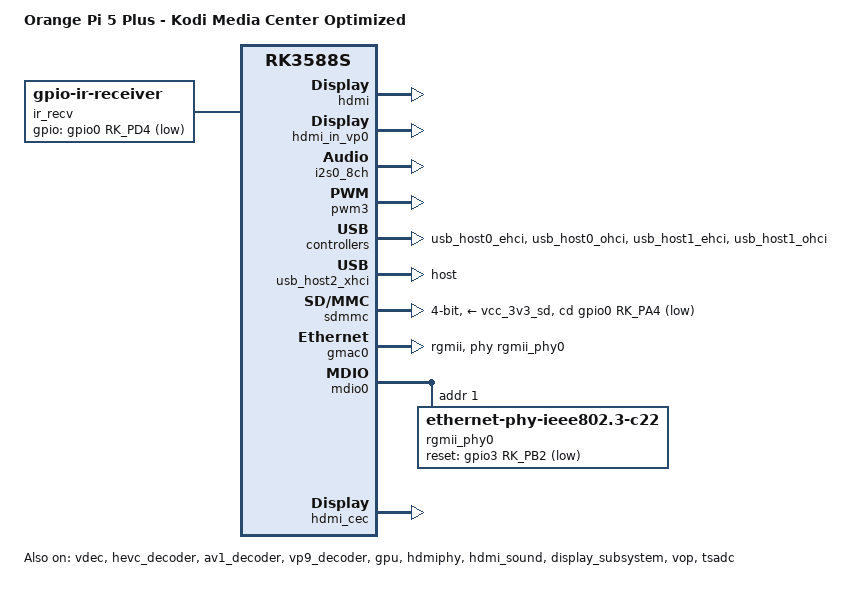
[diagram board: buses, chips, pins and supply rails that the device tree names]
/dts-v1/;
#include <dt-bindings/gpio/gpio.h>
#include <dt-bindings/pinctrl/rockchip.h>
#include "rk3588s.dtsi"
#include "rk3588s-orangepi-5.dtsi"

/ {
    model = "Orange Pi 5 Plus - Kodi Media Center Optimized";
    compatible = "xunlong,orangepi-5-plus", "rockchip,rk3588s";
    
    metadata {
        build-type = "kodi-media-center";
        optimization = "media-playback";
        features = "hdr10,av1-decode,hevc-10bit";
    };

    chosen {
        bootargs = "console=ttyS2,1500000n8 root=/dev/mmcblk0p2 rootwait rw quiet loglevel=3 plymouth.enable=0";
    };

    /* Kodi specific memory reservations */
    reserved-memory {
        #address-cells = <2>;
        #size-cells = <2>;
        ranges;

        /* CMA pool for video decoding */
        linux,cma {
            compatible = "shared-dma-pool";
            reusable;
            size = <0x0 0x40000000>; /* 1GB for 4K video buffers */
            alignment = <0x0 0x400000>;
            linux,cma-default;
        };

        /* Reserved for GPU */
        gpu_reserved: gpu@f8000000 {
            reg = <0x0 0xf8000000 0x0 0x8000000>; /* 128MB */
            no-map;
        };
    };
};

/* Video decoder configurations for Kodi */
&vdec {
    compatible = "rockchip,rk3588-vdec";
    status = "okay";
    
    /* Enable all video codecs */
    rockchip,h264-decoder;
    rockchip,h265-decoder;
    rockchip,vp9-decoder;
    rockchip,av1-decoder;
    
    /* 4K@60fps decoding support */
    rockchip,max-width = <3840>;
    rockchip,max-height = <2160>;
    rockchip,max-fps = <60>;
};

/* HEVC/H.265 10-bit decoder */
&hevc_decoder {
    compatible = "rockchip,rk3588-hevc-decoder";
    reg = <0x0 0xfdb50000 0x0 0x400>,
          <0x0 0xfdb90000 0x0 0x400>;
    interrupts = <GIC_SPI 119 IRQ_TYPE_LEVEL_HIGH>;
    clocks = <&cru ACLK_HEVC>, <&cru PCLK_HEVC>;
    clock-names = "aclk", "pclk";
    resets = <&cru SRST_A_HEVC>, <&cru SRST_P_HEVC>;
    reset-names = "axi", "ahb";
    power-domains = <&power RK3588_PD_HEVC>;
    status = "okay";
    
    /* 10-bit support */
    rockchip,10bit-support;
    rockchip,hdr10-support;
};

/* AV1 decoder for latest codecs */
&av1_decoder {
    compatible = "rockchip,rk3588-av1-decoder";
    reg = <0x0 0xfdb70000 0x0 0x800>;
    interrupts = <GIC_SPI 108 IRQ_TYPE_LEVEL_HIGH>;
    clocks = <&cru ACLK_AV1>, <&cru PCLK_AV1>;
    clock-names = "aclk", "pclk";
    resets = <&cru SRST_A_AV1>, <&cru SRST_P_AV1>;
    reset-names = "axi", "ahb";
    power-domains = <&power RK3588_PD_AV1>;
    status = "okay";
    
    /* Netflix/Amazon Prime compatibility */
    rockchip,secure-decode;
};

/* VP9 decoder for YouTube/WebM */
&vp9_decoder {
    compatible = "rockchip,rk3588-vp9-decoder";
    status = "okay";
    rockchip,10bit-support;
};

/* GPU configuration optimized for Kodi GUI */
&gpu {
    compatible = "arm,mali-g610", "arm,mali-valhall";
    mali-supply = <&vdd_gpu_s0>;
    operating-points-v2 = <&gpu_opp_table>;
    status = "okay";
    
    /* Power-efficient OPP table for media playback */
    gpu_opp_table: opp-table {
        compatible = "operating-points-v2";
        
        opp-200000000 {
            opp-hz = /bits/ 64 <200000000>;
            opp-microvolt = <650000>;
        };
        opp-300000000 {
            opp-hz = /bits/ 64 <300000000>;
            opp-microvolt = <675000>;
        };
        opp-400000000 {
            opp-hz = /bits/ 64 <400000000>;
            opp-microvolt = <700000>;
        };
        opp-600000000 {
            opp-hz = /bits/ 64 <600000000>;
            opp-microvolt = <750000>;
        };
    };
};

/* HDMI output for TV connection */
&hdmi {
    status = "okay";
    pinctrl-names = "default";
    pinctrl-0 = <&hdmi_pins>;
    
    /* HDMI 2.1 features */
    rockchip,hdmi21-support;
    rockchip,4k60-support;
    rockchip,hdr10-support;
    rockchip,dolby-vision-support;
};

&hdmi_in_vp0 {
    status = "okay";
};

&hdmiphy {
    status = "okay";
};

&hdmi_sound {
    status = "okay";
    
    /* Audio passthrough for Kodi */
    rockchip,passthrough-support;
    rockchip,dts-support;
    rockchip,dolby-support;
};

/* Display subsystem */
&display_subsystem {
    status = "okay";
};

&vop {
    status = "okay";
    assigned-clocks = <&cru DCLK_VOP0>;
    assigned-clock-rates = <594000000>; /* 4K@60Hz pixel clock */
};

&vop_mmu {
    status = "okay";
};

/* Audio configuration for Kodi */
&i2s0_8ch {
    status = "okay";
    
    /* High quality audio settings */
    rockchip,sample-rate = <192000>;
    rockchip,channels = <8>;
    rockchip,bit-depth = <32>;
};

/* IR receiver for remote control */
&pwm3 {
    status = "okay";
    pinctrl-names = "default";
    pinctrl-0 = <&pwm3_ir>;
};

/ {
    ir_recv: ir-receiver {
        compatible = "gpio-ir-receiver";
        gpios = <&gpio0 RK_PD4 GPIO_ACTIVE_LOW>;
        pinctrl-names = "default";
        pinctrl-0 = <&ir_int>;
        linux,rc-map-name = "rc-kodi";
    };
};

/* USB for external storage */
&usb_host0_ehci {
    status = "okay";
};

&usb_host0_ohci {
    status = "okay";
};

&usb_host1_ehci {
    status = "okay";
};

&usb_host1_ohci {
    status = "okay";
};

&usb_host2_xhci {
    dr_mode = "host";
    status = "okay";
};

/* SD card for media storage */
&sdmmc {
    bus-width = <4>;
    cap-sd-highspeed;
    cd-gpios = <&gpio0 RK_PA4 GPIO_ACTIVE_LOW>;
    disable-wp;
    max-frequency = <150000000>;
    no-sdio;
    no-mmc;
    sd-uhs-sdr104;
    vmmc-supply = <&vcc_3v3_sd>;
    vqmmc-supply = <&vccio_sd_s0>;
    status = "okay";
};

/* Gigabit ethernet for streaming */
&gmac0 {
    phy-mode = "rgmii";
    clock_in_out = "output";
    
    assigned-clocks = <&cru SCLK_GMAC0_RX_TX>, <&cru SCLK_GMAC0>;
    assigned-clock-parents = <&cru SCLK_GMAC0_RGMII_SPEED>;
    assigned-clock-rates = <0>, <125000000>;
    
    pinctrl-names = "default";
    pinctrl-0 = <&gmac0_pins>;
    
    tx_delay = <0x3c>;
    rx_delay = <0x2f>;
    
    phy-handle = <&rgmii_phy0>;
    status = "okay";
};

&mdio0 {
    rgmii_phy0: ethernet-phy@1 {
        compatible = "ethernet-phy-ieee802.3-c22";
        reg = <0x1>;
        reset-assert-us = <20000>;
        reset-deassert-us = <100000>;
        reset-gpios = <&gpio3 RK_PB2 GPIO_ACTIVE_LOW>;
    };
};

/* Thermal management for quiet operation */
&tsadc {
    status = "okay";
};

&thermal_zones {
    soc-thermal {
        polling-delay-passive = <1000>;
        polling-delay = <5000>;
        
        trips {
            soc_passive: trip-point@0 {
                temperature = <70000>;
                hysteresis = <2000>;
                type = "passive";
            };
        };
        
        cooling-maps {
            map0 {
                trip = <&soc_passive>;
                cooling-device = <&cpu_l0 THERMAL_NO_LIMIT THERMAL_NO_LIMIT>,
                               <&cpu_b0 THERMAL_NO_LIMIT THERMAL_NO_LIMIT>,
                               <&cpu_b2 THERMAL_NO_LIMIT THERMAL_NO_LIMIT>;
            };
        };
    };
};

/* CEC for TV control */
&hdmi_cec {
    status = "okay";
    pinctrl-names = "default";
    pinctrl-0 = <&hdmi_cec_pins>;
};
